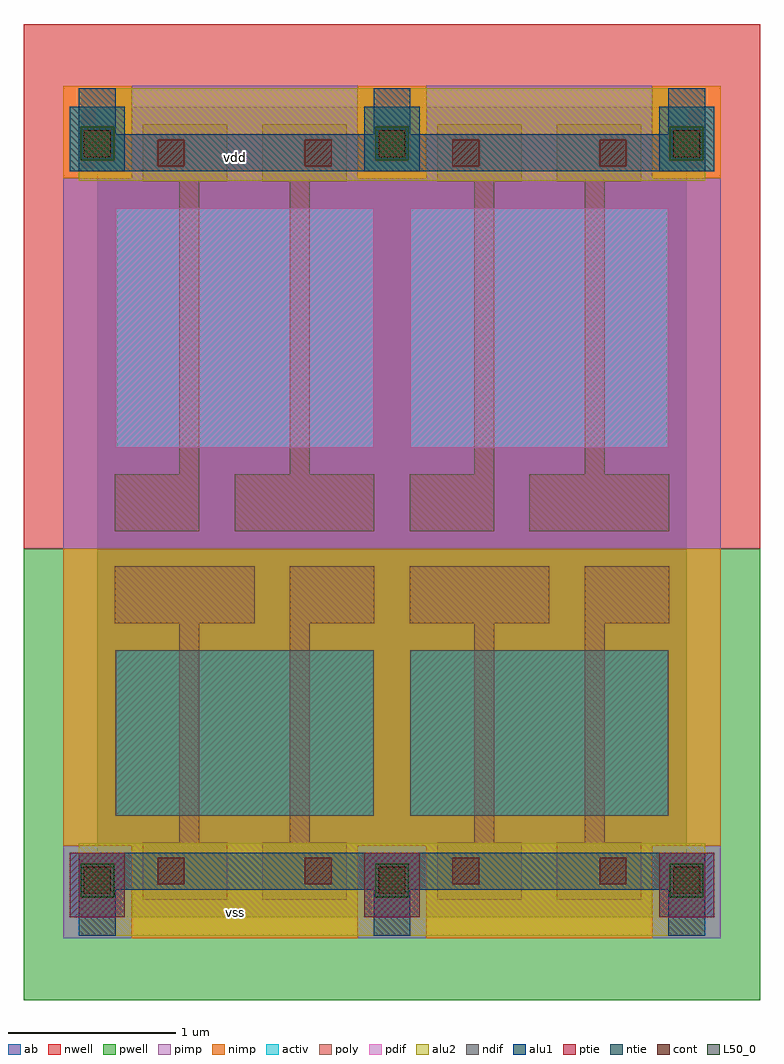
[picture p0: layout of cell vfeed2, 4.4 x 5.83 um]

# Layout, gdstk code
import gdstk
lib = gdstk.Library(unit=1e-6, precision=2.5e-09)
def R(c, l, rs):  # rectangles x0, y0, x1, y1
    for r in rs: c.add(gdstk.rectangle(r[:2], r[2:], *l))
def A(c, l, x, y, w, h, nx, ny, dx, dy):  # array of equal rectangles
    R(c, l, [(x+i*dx, y+j*dy, x+i*dx+w, y+j*dy+h) for i in range(nx) for j in range(ny)])
ndif = (3, 0)
pdif = (4, 0)
ntie = (5, 0)
ptie = (6, 0)
cont = (25, 0)
pwell = (41, 0)
nwell = (42, 0)
activ = (43, 0)
pimp = (44, 0)
nimp = (45, 0)
poly = (46, 0)
alu1 = (49, 0)
L50_0 = (50, 0)
alu2 = (51, 0)
ab = (63, 0)

vfeed2 = lib.new_cell('vfeed2')
R(vfeed2, ndif, [(0.11,0.605,1.65,1.595), (1.87,0.605,3.41,1.595)])
R(vfeed2, pdif, [(0.11,2.805,1.65,4.235), (1.87,2.805,3.41,4.235)])
A(vfeed2, ntie, -0.165, 4.455, 0.33, 0.385, 3, 1, 1.76, 0)
A(vfeed2, ptie, -0.165, 0, 0.33, 0.385, 3, 1, 1.76, 0)
A(vfeed2, cont, -0.08, 0.14, 0.16, 0.16, 3, 2, 1.76, 4.4)
A(vfeed2, cont, 0.36, 0.195, 0.16, 0.16, 4, 2, 0.88, 4.29)
R(vfeed2, pwell, [(-0.44,-0.495,3.96,2.2)])
R(vfeed2, nwell, [(-0.44,2.2,3.96,5.335)])
A(vfeed2, activ, -0.165, 0, 0.33, 0.385, 3, 2, 1.76, 4.455)
R(vfeed2, activ, [(0.11,0.605,1.65,1.595), (1.87,0.605,3.41,1.595), (0.11,2.805,1.65,4.235), (1.87,2.805,3.41,4.235)])
A(vfeed2, pimp, -0.205, -0.125, 0.41, 0.55, 3, 1, 1.76, 0)
R(vfeed2, pimp, [(-0.205,2.2,3.725,4.415), (0.205,4.415,1.555,4.965), (1.965,4.415,3.315,4.965)])
A(vfeed2, nimp, -0.205, 4.415, 0.41, 0.55, 3, 1, 1.76, 0)
R(vfeed2, nimp, [(0.205,-0.125,1.555,0.425), (1.965,-0.125,3.315,0.425), (-0.205,0.425,3.725,2.2)])
R(vfeed2, poly, [(0.27,0.105,0.775,0.445), (0.985,0.105,1.49,0.445), (2.03,0.105,2.535,0.445), (2.745,0.105,3.25,0.445), (0.49,0.445,0.61,1.755), (1.15,0.445,1.27,1.755), (2.25,0.445,2.37,1.755), (2.91,0.445,3.03,1.755), (0.105,1.755,0.94,2.095), (1.15,1.755,1.655,2.095), (1.865,1.755,2.7,2.095), (2.91,1.755,3.415,2.095), (0.105,2.305,0.61,2.645), (0.82,2.305,1.655,2.645), (1.865,2.305,2.37,2.645), (2.58,2.305,3.415,2.645), (0.49,2.645,0.61,4.395), (1.15,2.645,1.27,4.395), (2.25,2.645,2.37,4.395), (2.91,2.645,3.03,4.395), (0.27,4.395,0.775,4.735), (0.985,4.395,1.49,4.735), (2.03,4.395,2.535,4.735), (2.745,4.395,3.25,4.735)])
A(vfeed2, alu1, -0.11, -0.11, 0.22, 0.275, 3, 2, 1.76, 4.785)
R(vfeed2, alu1, [(-0.11,0.165,3.63,0.385), (-0.11,4.455,3.63,4.675)])
A(vfeed2, L50_0, -0.1, 0.12, 0.2, 0.2, 3, 2, 1.76, 4.4)
R(vfeed2, alu2, [(-0.11,-0.11,3.63,0.44), (-0.11,4.4,3.63,4.95)])
R(vfeed2, ab, [(0,0,3.52,4.84)])
vfeed2.add(gdstk.Label('vss', (0.825,0.0275), layer=51, texttype=0))
vfeed2.add(gdstk.Label('vdd', (0.825,4.5375), layer=51, texttype=0))

lib.write_gds('vfeed2.gds')
